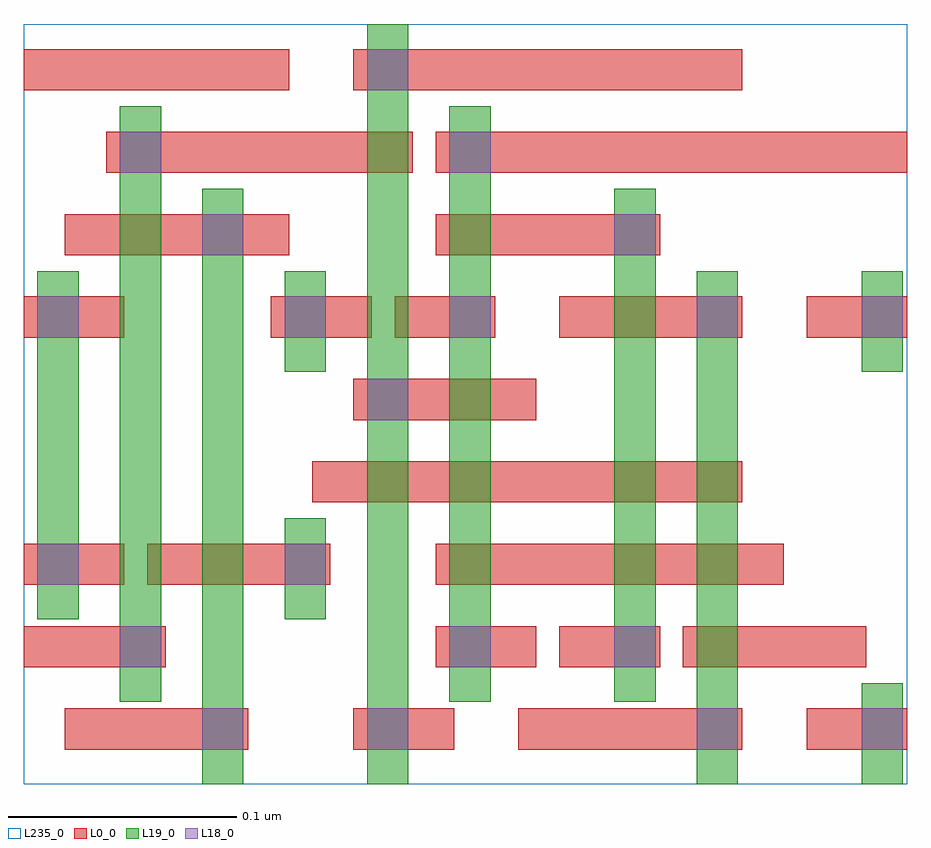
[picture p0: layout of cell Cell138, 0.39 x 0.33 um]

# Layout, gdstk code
import gdstk
lib = gdstk.Library(unit=1e-6, precision=2.5e-10)
def R(c, l, rs):  # rectangles x0, y0, x1, y1
    for r in rs: c.add(gdstk.rectangle(r[:2], r[2:], *l))
def A(c, l, x, y, w, h, nx, ny, dx, dy):  # array of equal rectangles
    R(c, l, [(x+i*dx, y+j*dy, x+i*dx+w, y+j*dy+h) for i in range(nx) for j in range(ny)])
L0_0 = (0, 0)
L18_0 = (18, 0)
L19_0 = (19, 0)
L235_0 = (235, 0)

cell138 = lib.new_cell('Cell138')
R(cell138, L0_0, [(0.022,-0.001,0.102,0.017), (0.148,-0.001,0.192,0.017), (0.22,-0.001,0.318,0.017), (0.346,-0.001,0.39,0.017), (0.004,0.035,0.066,0.053), (0.184,0.035,0.228,0.053), (0.238,0.035,0.282,0.053), (0.292,0.035,0.372,0.053), (0.004,0.071,0.048,0.089), (0.058,0.071,0.138,0.089), (0.184,0.071,0.336,0.089), (0.13,0.107,0.318,0.125), (0.148,0.143,0.228,0.161), (0.004,0.179,0.048,0.197), (0.112,0.179,0.156,0.197), (0.166,0.179,0.21,0.197), (0.238,0.179,0.318,0.197), (0.346,0.179,0.39,0.197), (0.022,0.215,0.12,0.233), (0.184,0.215,0.282,0.233), (0.04,0.251,0.174,0.269), (0.184,0.251,0.39,0.269), (0.004,0.287,0.12,0.305), (0.148,0.287,0.318,0.305)])
A(cell138, L18_0, 0.154, -0.001, 0.018, 0.018, 1, 3, 0, 0.144)
R(cell138, L18_0, [(0.082,-0.001,0.1,0.017), (0.298,-0.001,0.316,0.017), (0.37,-0.001,0.388,0.017), (0.046,0.035,0.064,0.053), (0.19,0.035,0.208,0.053), (0.262,0.035,0.28,0.053), (0.01,0.071,0.028,0.089), (0.118,0.071,0.136,0.089), (0.01,0.179,0.028,0.197), (0.118,0.179,0.136,0.197), (0.19,0.179,0.208,0.197), (0.298,0.179,0.316,0.197), (0.37,0.179,0.388,0.197), (0.082,0.215,0.1,0.233), (0.262,0.215,0.28,0.233), (0.046,0.251,0.064,0.269), (0.19,0.251,0.208,0.269)])
R(cell138, L19_0, [(0.082,-0.016,0.1,0.244), (0.154,-0.016,0.172,0.316), (0.298,-0.016,0.316,0.208), (0.37,-0.016,0.388,0.028), (0.046,0.02,0.064,0.28), (0.19,0.02,0.208,0.28), (0.262,0.02,0.28,0.244), (0.01,0.056,0.028,0.208), (0.118,0.056,0.136,0.1), (0.118,0.164,0.136,0.208), (0.37,0.164,0.388,0.208)])
R(cell138, L235_0, [(0.004,-0.016,0.39,0.316)])

lib.write_gds('Cell138.gds')
